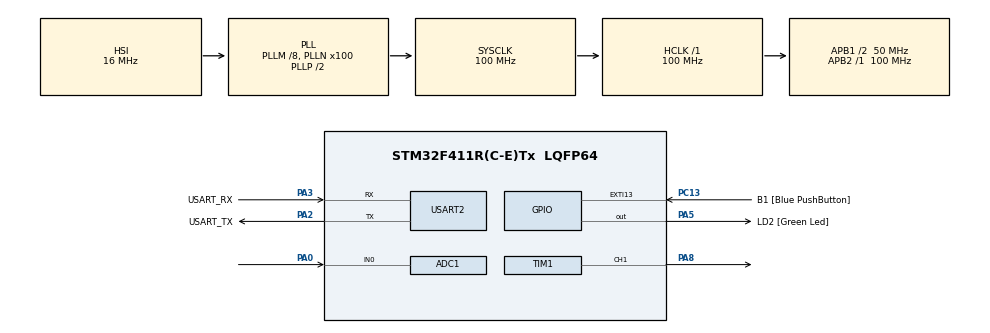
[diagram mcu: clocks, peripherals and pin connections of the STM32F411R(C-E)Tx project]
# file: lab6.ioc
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ADC1.Channel-0\#ChannelRegularConversion=ADC_CHANNEL_0
ADC1.ExternalTrigConv=ADC_EXTERNALTRIGCONV_T3_TRGO
ADC1.NbrOfConversionFlag=1
ADC1.Rank-0\#ChannelRegularConversion=1
ADC1.SamplingTime-0\#ChannelRegularConversion=ADC_SAMPLETIME_56CYCLES
ADC1.master=1
Mcu.Family=STM32F4
Mcu.Name=STM32F411R(C-E)Tx
Mcu.Package=LQFP64
NVIC.ADC_IRQn=true\:0\:0\:false\:false\:true\:true\:true
NVIC.PriorityGroup=NVIC_PRIORITYGROUP_0
NVIC.TIM1_TRG_COM_TIM11_IRQn=true\:0\:0\:false\:false\:true\:true\:true
PA0-WKUP.Signal=ADCx_IN0
PA13.GPIO_Label=TMS
PA13.Mode=Serial_Wire
PA13.Signal=SYS_JTMS-SWDIO
PA14.GPIO_Label=TCK
PA14.Mode=Serial_Wire
PA14.Signal=SYS_JTCK-SWCLK
PA2.GPIO_Label=USART_TX
PA2.Mode=Asynchronous
PA2.Signal=USART2_TX
PA3.GPIO_Label=USART_RX
PA3.Mode=Asynchronous
PA3.Signal=USART2_RX
PA5.GPIO_Label=LD2 [Green Led]
PA5.Signal=GPIO_Output
PA8.Signal=S_TIM1_CH1
PB3.GPIO_Label=SWO
PB3.Signal=SYS_JTDO-SWO
PC13-ANTI_TAMP.GPIO_Label=B1 [Blue PushButton]
PC13-ANTI_TAMP.GPIO_ModeDefaultEXTI=GPIO_MODE_IT_FALLING
PC13-ANTI_TAMP.Signal=GPXTI13
PC14-OSC32_IN.Mode=LSE-External-Oscillator
PC14-OSC32_IN.Signal=RCC_OSC32_IN
PC15-OSC32_OUT.Mode=LSE-External-Oscillator
PC15-OSC32_OUT.Signal=RCC_OSC32_OUT
PH0\ -\ OSC_IN.Mode=HSE-External-Clock-Source
PH0\ -\ OSC_IN.Signal=RCC_OSC_IN
PH1\ -\ OSC_OUT.Mode=HSE-External-Clock-Source
PH1\ -\ OSC_OUT.Signal=RCC_OSC_OUT
ProjectManager.HeapSize=0x200
ProjectManager.StackSize=0x400
ProjectManager.TargetToolchain=STM32CubeIDE
RCC.48MHZClocksFreq_Value=50000000
RCC.AHBFreq_Value=100000000
RCC.APB1CLKDivider=RCC_HCLK_DIV2
RCC.APB1Freq_Value=50000000
RCC.APB1TimFreq_Value=100000000
RCC.APB2Freq_Value=100000000
RCC.APB2TimFreq_Value=100000000
RCC.CortexFreq_Value=100000000
RCC.FLatency-AdvancedSettings=FLASH_LATENCY_3
RCC.HCLKFreq_Value=100000000
RCC.HSE_VALUE=8000000
RCC.HSI_VALUE=16000000
RCC.PLLM=8
RCC.PLLN=100
RCC.SYSCLKFreq_VALUE=100000000
RCC.SYSCLKSource=RCC_SYSCLKSOURCE_PLLCLK
RCC.VCOOutputFreq_Value=200000000
SH.ADCx_IN0.0=ADC1_IN0,IN0
SH.S_TIM1_CH1.0=TIM1_CH1,PWM Generation1 CH1
TIM1.Channel-PWM\ Generation1\ CH1=TIM_CHANNEL_1
TIM1.Period=10000
TIM1.Pulse-PWM\ Generation1\ CH1=5000
TIM11.Prescaler=99
TIM3.Period=1000
TIM3.Prescaler=99
TIM3.TIM_MasterOutputTrigger=TIM_TRGO_UPDATE
USART2.VirtualMode=VM_ASYNC
VP_TIM11_VS_ClockSourceINT.Mode=Enable_Timer
VP_TIM1_VS_ClockSourceINT.Mode=Internal
VP_TIM3_VS_ClockSourceINT.Mode=Internal
board=NUCLEO-F411RE

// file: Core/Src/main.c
/* USER CODE BEGIN Header */
/**
 ******************************************************************************
 * @file           : main.c
 * @brief          : Main program body
 ******************************************************************************
 * @attention
 *
 * <h2><center>&copy; Copyright (c) 2021 STMicroelectronics.
 * All rights reserved.</center></h2>
 *
 * This software component is licensed by ST under BSD 3-Clause license,
 * the "License"; You may not use this file except in compliance with the
 * License. You may obtain a copy of the License at:
 *                        opensource.org/licenses/BSD-3-Clause
 *
 ******************************************************************************
 */
/* USER CODE END Header */
#include "main.h"

ADC_HandleTypeDef hadc1;

TIM_HandleTypeDef htim1;
TIM_HandleTypeDef htim3;
TIM_HandleTypeDef htim11;

UART_HandleTypeDef huart2;

/* USER CODE BEGIN PV */
void Pcontrol();
uint8_t ADCUpdateFlag = 0;
uint16_t ADCFeedBack = 0;

float PWMOut = 3000;

uint64_t _micro = 0;
uint64_t TimeOutputLoop = 0;
float VADC = 0;
float error = 0;
float K = 1;
float setpoint = 1;

/* USER CODE END PV */

void SystemClock_Config(void);
static void MX_GPIO_Init(void);
static void MX_USART2_UART_Init(void);
static void MX_ADC1_Init(void);
static void MX_TIM1_Init(void);
static void MX_TIM11_Init(void);
static void MX_TIM3_Init(void);
/* USER CODE BEGIN PFP */
uint64_t micros();
/* USER CODE END PFP */

int main(void) {

	/* MCU Configuration--------------------------------------------------------*/

	/* Reset of all peripherals, Initializes the Flash interface and the Systick. */
	HAL_Init();

	/* Configure the system clock */
	SystemClock_Config();

	/* Initialize all configured peripherals */
	MX_GPIO_Init();
	MX_USART2_UART_Init();
	MX_ADC1_Init();
	MX_TIM1_Init();
	MX_TIM11_Init();
	MX_TIM3_Init();
	/* USER CODE BEGIN 2 */
	HAL_ADC_Start_IT(&hadc1);
	HAL_TIM_Base_Start(&htim3);

	HAL_TIM_Base_Start(&htim1);
	HAL_TIM_PWM_Start(&htim1, TIM_CHANNEL_1);

	HAL_TIM_Base_Start_IT(&htim11);

	/* USER CODE END 2 */

	/* Infinite loop */
	while (1) {

		/* USER CODE BEGIN 3 */

		//1 Khz Loop
		if (micros() - TimeOutputLoop > 1000) {
			TimeOutputLoop = micros();
			// #001
			 Pcontrol();
			__HAL_TIM_SET_COMPARE(&htim1, TIM_CHANNEL_1, PWMOut);

		}

		if (ADCUpdateFlag) {
			ADCUpdateFlag = 0;
			//#002
		}

	}
	/* USER CODE END 3 */
}

void SystemClock_Config(void) {
	RCC_OscInitTypeDef RCC_OscInitStruct = { 0 };
	RCC_ClkInitTypeDef RCC_ClkInitStruct = { 0 };

	/** Configure the main internal regulator output voltage
	 */
	__HAL_RCC_PWR_CLK_ENABLE();
	__HAL_PWR_VOLTAGESCALING_CONFIG(PWR_REGULATOR_VOLTAGE_SCALE1);
	/** Initializes the RCC Oscillators according to the specified parameters
	 * in the RCC_OscInitTypeDef structure.
	 */
	RCC_OscInitStruct.OscillatorType = RCC_OSCILLATORTYPE_HSI;
	RCC_OscInitStruct.HSIState = RCC_HSI_ON;
	RCC_OscInitStruct.HSICalibrationValue = RCC_HSICALIBRATION_DEFAULT;
	RCC_OscInitStruct.PLL.PLLState = RCC_PLL_ON;
	RCC_OscInitStruct.PLL.PLLSource = RCC_PLLSOURCE_HSI;
	RCC_OscInitStruct.PLL.PLLM = 8;
	RCC_OscInitStruct.PLL.PLLN = 100;
	RCC_OscInitStruct.PLL.PLLP = RCC_PLLP_DIV2;
	RCC_OscInitStruct.PLL.PLLQ = 4;
	if (HAL_RCC_OscConfig(&RCC_OscInitStruct) != HAL_OK) {
		Error_Handler();
	}
	/** Initializes the CPU, AHB and APB buses clocks
	 */
	RCC_ClkInitStruct.ClockType = RCC_CLOCKTYPE_HCLK | RCC_CLOCKTYPE_SYSCLK
			| RCC_CLOCKTYPE_PCLK1 | RCC_CLOCKTYPE_PCLK2;
	RCC_ClkInitStruct.SYSCLKSource = RCC_SYSCLKSOURCE_PLLCLK;
	RCC_ClkInitStruct.AHBCLKDivider = RCC_SYSCLK_DIV1;
	RCC_ClkInitStruct.APB1CLKDivider = RCC_HCLK_DIV2;
	RCC_ClkInitStruct.APB2CLKDivider = RCC_HCLK_DIV1;

	if (HAL_RCC_ClockConfig(&RCC_ClkInitStruct, FLASH_LATENCY_3) != HAL_OK) {
		Error_Handler();
	}
}

static void MX_ADC1_Init(void) {

	ADC_ChannelConfTypeDef sConfig = { 0 };

	/** Configure the global features of the ADC (Clock, Resolution, Data Alignment and number of conversion)
	 */
	hadc1.Instance = ADC1;
	hadc1.Init.ClockPrescaler = ADC_CLOCK_SYNC_PCLK_DIV4;
	hadc1.Init.Resolution = ADC_RESOLUTION_12B;
	hadc1.Init.ScanConvMode = DISABLE;
	hadc1.Init.ContinuousConvMode = DISABLE;
	hadc1.Init.DiscontinuousConvMode = DISABLE;
	hadc1.Init.ExternalTrigConvEdge = ADC_EXTERNALTRIGCONVEDGE_RISING;
	hadc1.Init.ExternalTrigConv = ADC_EXTERNALTRIGCONV_T3_TRGO;
	hadc1.Init.DataAlign = ADC_DATAALIGN_RIGHT;
	hadc1.Init.NbrOfConversion = 1;
	hadc1.Init.DMAContinuousRequests = DISABLE;
	hadc1.Init.EOCSelection = ADC_EOC_SINGLE_CONV;
	if (HAL_ADC_Init(&hadc1) != HAL_OK) {
		Error_Handler();
	}
	/** Configure for the selected ADC regular channel its corresponding rank in the sequencer and its sample time.
	 */
	sConfig.Channel = ADC_CHANNEL_0;
	sConfig.Rank = 1;
	sConfig.SamplingTime = ADC_SAMPLETIME_3CYCLES;
	if (HAL_ADC_ConfigChannel(&hadc1, &sConfig) != HAL_OK) {
		Error_Handler();
	}

}

static void MX_TIM1_Init(void) {

	TIM_ClockConfigTypeDef sClockSourceConfig = { 0 };
	TIM_MasterConfigTypeDef sMasterConfig = { 0 };
	TIM_OC_InitTypeDef sConfigOC = { 0 };
	TIM_BreakDeadTimeConfigTypeDef sBreakDeadTimeConfig = { 0 };

	htim1.Instance = TIM1;
	htim1.Init.Prescaler = 1;
	htim1.Init.CounterMode = TIM_COUNTERMODE_UP;
	htim1.Init.Period = 10000;
	htim1.Init.ClockDivision = TIM_CLOCKDIVISION_DIV1;
	htim1.Init.RepetitionCounter = 0;
	htim1.Init.AutoReloadPreload = TIM_AUTORELOAD_PRELOAD_ENABLE;
	if (HAL_TIM_Base_Init(&htim1) != HAL_OK) {
		Error_Handler();
	}
	sClockSourceConfig.ClockSource = TIM_CLOCKSOURCE_INTERNAL;
	if (HAL_TIM_ConfigClockSource(&htim1, &sClockSourceConfig) != HAL_OK) {
		Error_Handler();
	}
	if (HAL_TIM_PWM_Init(&htim1) != HAL_OK) {
		Error_Handler();
	}
	sMasterConfig.MasterOutputTrigger = TIM_TRGO_RESET;
	sMasterConfig.MasterSlaveMode = TIM_MASTERSLAVEMODE_DISABLE;
	if (HAL_TIMEx_MasterConfigSynchronization(&htim1, &sMasterConfig)
			!= HAL_OK) {
		Error_Handler();
	}
	sConfigOC.OCMode = TIM_OCMODE_PWM1;
	sConfigOC.Pulse = 5000;
	sConfigOC.OCPolarity = TIM_OCPOLARITY_HIGH;
	sConfigOC.OCNPolarity = TIM_OCNPOLARITY_HIGH;
	sConfigOC.OCFastMode = TIM_OCFAST_DISABLE;
	sConfigOC.OCIdleState = TIM_OCIDLESTATE_RESET;
	sConfigOC.OCNIdleState = TIM_OCNIDLESTATE_RESET;
	if (HAL_TIM_PWM_ConfigChannel(&htim1, &sConfigOC, TIM_CHANNEL_1)
			!= HAL_OK) {
		Error_Handler();
	}
	__HAL_TIM_DISABLE_OCxPRELOAD(&htim1, TIM_CHANNEL_1);
	sBreakDeadTimeConfig.OffStateRunMode = TIM_OSSR_DISABLE;
	sBreakDeadTimeConfig.OffStateIDLEMode = TIM_OSSI_DISABLE;
	sBreakDeadTimeConfig.LockLevel = TIM_LOCKLEVEL_OFF;
	sBreakDeadTimeConfig.DeadTime = 0;
	sBreakDeadTimeConfig.BreakState = TIM_BREAK_DISABLE;
	sBreakDeadTimeConfig.BreakPolarity = TIM_BREAKPOLARITY_HIGH;
	sBreakDeadTimeConfig.AutomaticOutput = TIM_AUTOMATICOUTPUT_DISABLE;
	if (HAL_TIMEx_ConfigBreakDeadTime(&htim1, &sBreakDeadTimeConfig)
			!= HAL_OK) {
		Error_Handler();
	}
	HAL_TIM_MspPostInit(&htim1);

}

static void MX_TIM3_Init(void) {

	TIM_ClockConfigTypeDef sClockSourceConfig = { 0 };
	TIM_MasterConfigTypeDef sMasterConfig = { 0 };

	htim3.Instance = TIM3;
	htim3.Init.Prescaler = 100;
	htim3.Init.CounterMode = TIM_COUNTERMODE_UP;
	htim3.Init.Period = 2000;
	htim3.Init.ClockDivision = TIM_CLOCKDIVISION_DIV1;
	htim3.Init.AutoReloadPreload = TIM_AUTORELOAD_PRELOAD_DISABLE;
	if (HAL_TIM_Base_Init(&htim3) != HAL_OK) {
		Error_Handler();
	}
	sClockSourceConfig.ClockSource = TIM_CLOCKSOURCE_INTERNAL;
	if (HAL_TIM_ConfigClockSource(&htim3, &sClockSourceConfig) != HAL_OK) {
		Error_Handler();
	}
	sMasterConfig.MasterOutputTrigger = TIM_TRGO_UPDATE;
	sMasterConfig.MasterSlaveMode = TIM_MASTERSLAVEMODE_DISABLE;
	if (HAL_TIMEx_MasterConfigSynchronization(&htim3, &sMasterConfig)
			!= HAL_OK) {
		Error_Handler();
	}

}

static void MX_TIM11_Init(void) {

	htim11.Instance = TIM11;
	htim11.Init.Prescaler = 100;
	htim11.Init.CounterMode = TIM_COUNTERMODE_UP;
	htim11.Init.Period = 65535;
	htim11.Init.ClockDivision = TIM_CLOCKDIVISION_DIV1;
	htim11.Init.AutoReloadPreload = TIM_AUTORELOAD_PRELOAD_DISABLE;
	if (HAL_TIM_Base_Init(&htim11) != HAL_OK) {
		Error_Handler();
	}

}

static void MX_USART2_UART_Init(void) {

	huart2.Instance = USART2;
	huart2.Init.BaudRate = 115200;
	huart2.Init.WordLength = UART_WORDLENGTH_8B;
	huart2.Init.StopBits = UART_STOPBITS_1;
	huart2.Init.Parity = UART_PARITY_NONE;
	huart2.Init.Mode = UART_MODE_TX_RX;
	huart2.Init.HwFlowCtl = UART_HWCONTROL_NONE;
	huart2.Init.OverSampling = UART_OVERSAMPLING_16;
	if (HAL_UART_Init(&huart2) != HAL_OK) {
		Error_Handler();
	}

}

static void MX_GPIO_Init(void) {
	GPIO_InitTypeDef GPIO_InitStruct = { 0 };

	/* GPIO Ports Clock Enable */
	__HAL_RCC_GPIOC_CLK_ENABLE();
	__HAL_RCC_GPIOH_CLK_ENABLE();
	__HAL_RCC_GPIOA_CLK_ENABLE();
	__HAL_RCC_GPIOB_CLK_ENABLE();

	/*Configure GPIO pin Output Level */
	HAL_GPIO_WritePin(LD2_GPIO_Port, LD2_Pin, GPIO_PIN_RESET);

	/*Configure GPIO pin : B1_Pin */
	GPIO_InitStruct.Pin = B1_Pin;
	GPIO_InitStruct.Mode = GPIO_MODE_IT_FALLING;
	GPIO_InitStruct.Pull = GPIO_NOPULL;
	HAL_GPIO_Init(B1_GPIO_Port, &GPIO_InitStruct);

	/*Configure GPIO pin : LD2_Pin */
	GPIO_InitStruct.Pin = LD2_Pin;
	GPIO_InitStruct.Mode = GPIO_MODE_OUTPUT_PP;
	GPIO_InitStruct.Pull = GPIO_NOPULL;
	GPIO_InitStruct.Speed = GPIO_SPEED_FREQ_LOW;
	HAL_GPIO_Init(LD2_GPIO_Port, &GPIO_InitStruct);

}

/* USER CODE BEGIN 4 */

void HAL_ADC_ConvCpltCallback(ADC_HandleTypeDef *hadc) {
	ADCFeedBack = HAL_ADC_GetValue(&hadc1);
	VADC = ADCFeedBack*3.3/4096;
	ADCUpdateFlag = 1;
}
void HAL_TIM_PeriodElapsedCallback(TIM_HandleTypeDef *htim) {
	if (htim == &htim11) {
		_micro += 65535;
	}
}

__inline__ uint64_t micros() {
	return _micro + htim11.Instance->CNT;
}

void Pcontrol(){
	error = setpoint - VADC;
	PWMOut =PWMOut+( K * error);
}
/* USER CODE END 4 */

void Error_Handler(void) {
	__disable_irq();
	while (1) {
	}
}

/************************ (C) COPYRIGHT STMicroelectronics *****END OF FILE****/
